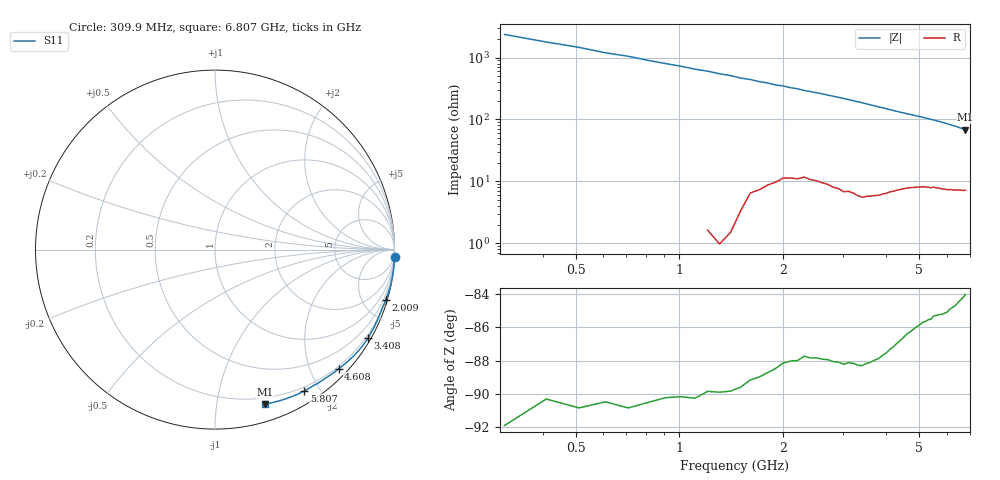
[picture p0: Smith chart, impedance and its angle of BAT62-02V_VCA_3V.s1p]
! Infineon Technologies  Discrete & RF Semiconductors
! BAT62-02V
! VCA = 3 V
! One-Port S-Parameters
# Hz  S  MA  R  50
!f  S11
!Hz  Mag  Ang
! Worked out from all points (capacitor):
!   66 points, 309.9 MHz to 6.807 GHz, reference 50 ohm
!   read as one part to ground: C = 217 fF near 309.9 MHz
!   lowest |Z| = 68.6 ohm at 6.807 GHz (marker M1)
!   S11 on the Smith chart (normalised r, x): 309.9 MHz: -2, -47; 2.009 GHz: 0.23, -6.98; 3.408 GHz: 0.11, -3.72; 4.608 GHz: 0.16, -2.47; 5.807 GHz: 0.15, -1.81; 6.807 GHz: 0.14, -1.36
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3.0985e8  1.001 -2.4
7.0965e8  1.001 -5.4
1.2094e9  0.9996 -9.5
1.30935e9  0.9997 -10.4
1.4093e9  0.9994 -11.1
1.50925e9  0.9985 -12.2
1.6092e9  0.9968 -12.9
1.70915e9  0.9957 -13.9
1.8091e9  0.9943 -14.6
1.90905e9  0.9927 -15.7
2.009e9  0.9909 -16.3
2.10895e9  0.9897 -17.4
2.2089e9  0.9892 -18.1
2.30885e9  0.987 -19.2
2.6087e9  0.9866 -21.8
2.8086e9  0.9865 -23.7
3.0085e9  0.9866 -25.7
3.4083e9  0.9852 -30.0
3.6082e9  0.9822 -32.4
4.008e9  0.9743 -37.1
4.4078e9  0.9629 -41.8
4.6077e9  0.957 -44.0
4.70765e9  0.9547 -44.9
5.2074e9  0.9429 -50.4
5.8071e9  0.9318 -57.7
6.007e9  0.9282 -60.4
6.4068e9  0.9175 -66.0
6.8066e9  0.9052 -72.1
